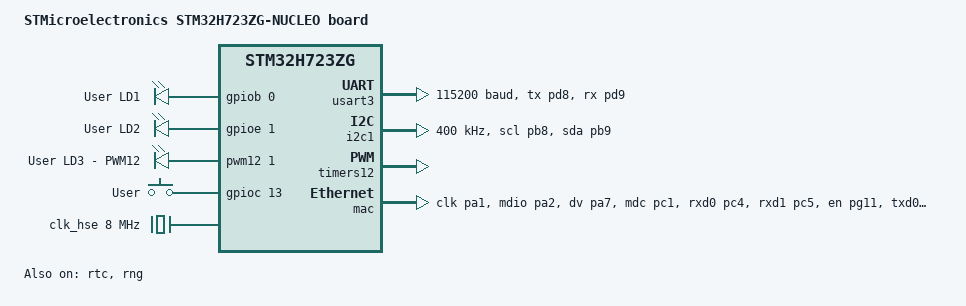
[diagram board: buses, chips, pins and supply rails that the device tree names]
/*
 * Copyright (c) 2020 Alexander Kozhinov <AlexanderKozhinov@yandex.com>
 * SPDX-License-Identifier: Apache-2.0
 */

/dts-v1/;
#include <st/h7/stm32h723Xg.dtsi>
#include <st/h7/stm32h723zgtx-pinctrl.dtsi>
#include "arduino_r3_connector.dtsi"

/*
 * WARNING:
 * JP6 and SB72 must be ON when using Ethernet.
 */

/ {
	model = "STMicroelectronics STM32H723ZG-NUCLEO board";
	compatible = "st,stm32h723zg-nucleo";

	chosen {
		zephyr,console = &usart3;
		zephyr,shell-uart = &usart3;
		zephyr,dtcm = &dtcm;
		zephyr,sram = &sram0;
		zephyr,flash = &flash0;
	};

	leds {
		compatible = "gpio-leds";
		green_led: led_0 {
			gpios = <&gpiob 0 GPIO_ACTIVE_HIGH>;
			label = "User LD1";
		};
		yellow_led: led_1 {
			gpios = <&gpioe 1 GPIO_ACTIVE_HIGH>;
			label = "User LD2";
		};
	};

	pwmleds {
		compatible = "pwm-leds";

		red_pwm_led: red_pwm_led {
			pwms = <&pwm12 1 4 PWM_POLARITY_NORMAL>;
			label = "User LD3 - PWM12";
		};
	};

	gpio_keys {
		compatible = "gpio-keys";
		user_button: button_0 {
			label = "User";
			gpios = <&gpioc 13 GPIO_ACTIVE_HIGH>;
		};
	};

	aliases {
		led0 = &green_led;
		led1 = &yellow_led;
		pwm-led0 = &red_pwm_led;
		sw0 = &user_button;
	};
};

&clk_hse {
	hse-bypass;
	clock-frequency = <DT_FREQ_M(8)>; /* STLink 8MHz clock */
	status = "okay";
};

&pll {
	div-m = <4>;
	mul-n = <275>;
	div-p = <1>;
	div-q = <4>;
	div-r = <2>;
	clocks = <&clk_hse>;
	status = "okay";
};

&rcc {
	clocks = <&pll>;
	clock-frequency = <DT_FREQ_M(550)>;
	d1cpre = <1>;
	hpre = <2>;    /* HCLK: 275   MHz */
	d1ppre = <2>;  /* APB1: 137.5 MHz */
	d2ppre1 = <2>; /* APB2: 137.5 MHz */
	d2ppre2 = <2>; /* APB3: 137.5 MHz */
	d3ppre = <2>;  /* APB4: 137.5 MHz */
};

&usart3 {
	pinctrl-0 = <&usart3_tx_pd8 &usart3_rx_pd9>;
	current-speed = <115200>;
	status = "okay";
};

&rtc {
	status = "okay";
};

&i2c1 {
	pinctrl-0 = <&i2c1_scl_pb8 &i2c1_sda_pb9>;
	status = "okay";
	clock-frequency = <I2C_BITRATE_FAST>;
};

&timers12 {
	status = "okay";

	pwm12: pwm {
		status = "okay";
		st,prescaler = <10000>;
		pinctrl-0 = <&tim12_ch1_pb14>;
	};
};

&mac {
	status = "okay";
	pinctrl-0 = <&eth_ref_clk_pa1
		     &eth_mdio_pa2
		     &eth_crs_dv_pa7
		     &eth_mdc_pc1
		     &eth_rxd0_pc4
		     &eth_rxd1_pc5
		     &eth_tx_en_pg11
		     &eth_txd0_pg13
		     &eth_txd1_pb13>;
};

&rng {
	status = "okay";
};
